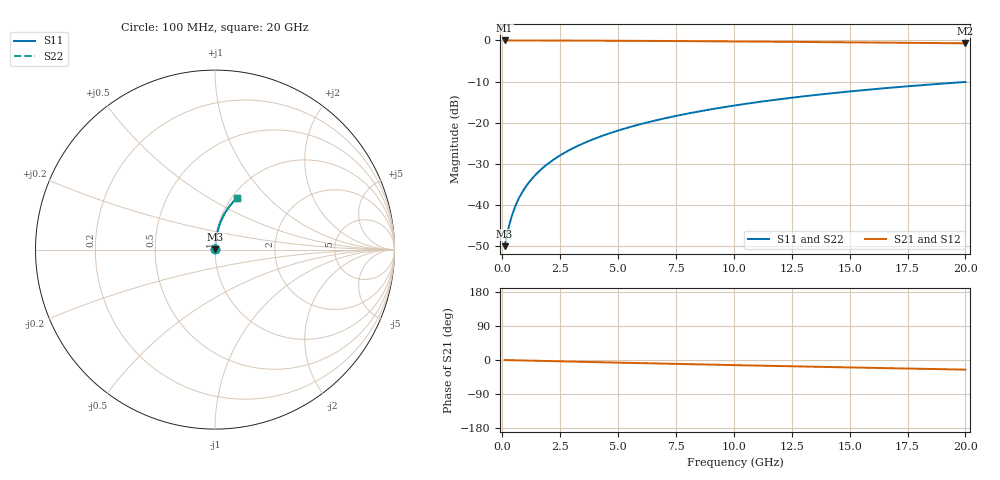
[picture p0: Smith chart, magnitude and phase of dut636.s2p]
! Touchstone file exported from HFSS 2024.1.0
!  File:  C:/UserFiles/LocalFiles/RDL_TSV_Batchsim/temp_RDL_top_636_1779780741.aedt
!  Generated:  03:34:47 PM May 26, 2026
!  Design:  RDL_top
!  Project:  temp_RDL_top_636_1779780741
!  Setup:  Setup1
!  Solution:  Sweep
! Variables:
!  dtsv = 10.80580581um
!  hbump = 3um
!  htsv = 94.98um
!  ldown = 100um
!  lrdl = 288.51um
!  p = 40
!  p1 = 49.58um
!  rhole = 1um
!  t = 450um
!  tdown = 3.915915916um
!  trdl = 2.94um
!  wdown = 15.38538539um
!  wrdl = 13.92um
# GHz S MA R 50.000000
! Terminal data exported
! Port[1] = Box2_T1
! Port[2] = Box2_T2
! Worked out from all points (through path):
!   200 points, 100 MHz to 20 GHz, reference 50 ohm
!   highest |S21| = -0.02 dB at 100 MHz (marker M1); lowest = -0.7 dB at 20 GHz (marker M2)
!   group delay of S21, straight-line fit = 3.52 ps
!   lowest |S11| = -50.0 dB at 100 MHz (marker M3), VSWR 1.01, Z = 50.3 + j0.167 ohm
!   |S11| at or under -10 dB: start of sweep to end of sweep
!   |S22| runs from -50.0 to -10.1 dB; largest |S21 - S12| = 3.5e-15
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0.1  0.003154 31.8  0.9973 -0.1  0.9973 -0.1  0.003154 31.8
! Gamma 0 0 0 0
! Port Impedance 50 0 50 0
0.2  0.00429 50.7  0.9973 -0.3  0.9973 -0.3  0.00429 50.7
0.3  0.005682 60.7  0.9972 -0.4  0.9972 -0.4  0.005682 60.7
0.4  0.007167 66.6  0.9971 -0.6  0.9971 -0.6  0.007167 66.6
0.5  0.008688 70.3  0.9971 -0.7  0.9971 -0.7  0.008688 70.3
0.6  0.01022 72.9  0.997 -0.9  0.997 -0.9  0.01022 72.9
0.8  0.01332 76.3  0.9968 -1.1  0.9968 -1.1  0.01332 76.3
1.1  0.01799 79.2  0.9965 -1.6  0.9965 -1.6  0.01799 79.2
1.5  0.02425 81.3  0.9961 -2.1  0.9961 -2.1  0.02425 81.3
1.8  0.02898 82.2  0.9958 -2.5  0.9958 -2.5  0.02898 82.2
2.1  0.03372 82.7  0.9954 -3.0  0.9954 -3.0  0.03372 82.7
2.7  0.04325 83.3  0.9944 -3.8  0.9944 -3.8  0.04325 83.3
3.5  0.05603 83.5  0.9929 -4.9  0.9929 -4.9  0.05603 83.5
4.2  0.06727 83.3  0.9912 -5.9  0.9912 -5.9  0.06727 83.3
5  0.08017 83.0  0.9891 -7.0  0.9891 -7.0  0.08017 83.0
5.9  0.09473 82.3  0.9863 -8.2  0.9863 -8.2  0.09473 82.3
6.8  0.1093 81.6  0.9833 -9.4  0.9833 -9.4  0.1093 81.6
8.3  0.1337 80.2  0.9776 -11.3  0.9776 -11.3  0.1337 80.2
10.1  0.1627 78.3  0.9702 -13.6  0.9702 -13.6  0.1627 78.3
13.4  0.2149 74.5  0.955 -17.7  0.955 -17.7  0.2149 74.5
16.7  0.2649 70.7  0.9383 -21.6  0.9383 -21.6  0.2649 70.7
20  0.3122 66.9  0.9205 -25.4  0.9205 -25.4  0.3122 66.9
